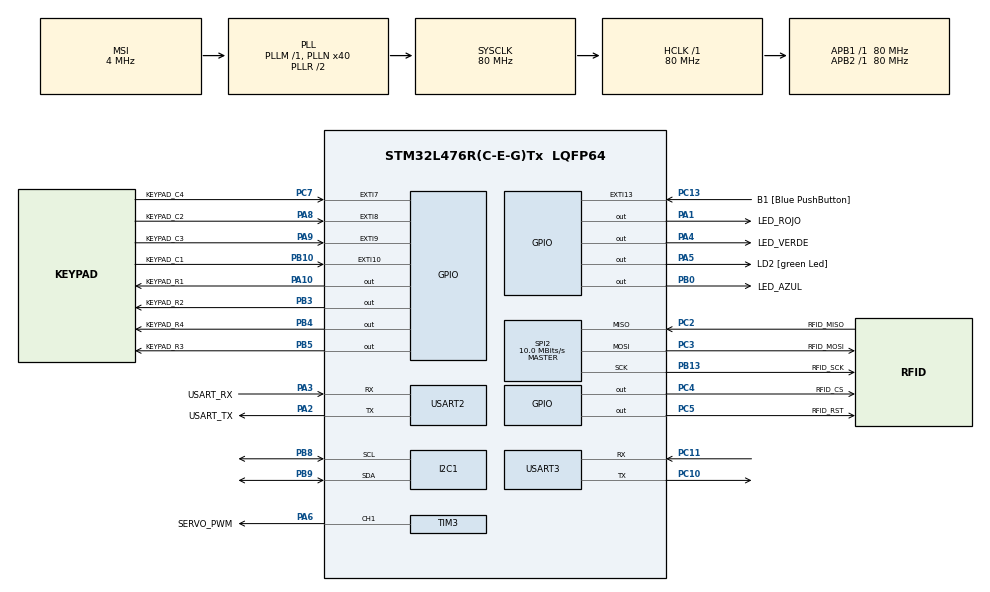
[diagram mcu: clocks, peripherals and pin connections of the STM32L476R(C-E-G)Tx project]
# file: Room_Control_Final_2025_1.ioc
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Dma.Request0=TIM3_CH1/TRIG
Dma.TIM3_CH1/TRIG.0.Direction=DMA_MEMORY_TO_PERIPH
Dma.TIM3_CH1/TRIG.0.Instance=DMA1_Channel6
Dma.TIM3_CH1/TRIG.0.MemDataAlignment=DMA_MDATAALIGN_HALFWORD
Dma.TIM3_CH1/TRIG.0.MemInc=DMA_MINC_ENABLE
Dma.TIM3_CH1/TRIG.0.Mode=DMA_NORMAL
Dma.TIM3_CH1/TRIG.0.PeriphDataAlignment=DMA_PDATAALIGN_HALFWORD
Dma.TIM3_CH1/TRIG.0.PeriphInc=DMA_PINC_DISABLE
Dma.TIM3_CH1/TRIG.0.Priority=DMA_PRIORITY_LOW
I2C1.Timing=0x10909CEC
Mcu.Family=STM32L4
Mcu.Name=STM32L476R(C-E-G)Tx
Mcu.Package=LQFP64
NVIC.DMA1_Channel6_IRQn=true\:0\:0\:false\:false\:true\:false\:true\:true
NVIC.EXTI15_10_IRQn=true\:0\:0\:false\:false\:true\:true\:true\:true
NVIC.EXTI9_5_IRQn=true\:0\:0\:false\:false\:true\:true\:true\:true
NVIC.PriorityGroup=NVIC_PRIORITYGROUP_4
NVIC.USART2_IRQn=true\:0\:0\:false\:false\:true\:true\:true\:true
NVIC.USART3_IRQn=true\:0\:0\:false\:false\:true\:true\:true\:true
PA1.GPIO_Label=LED_ROJO
PA1.Signal=GPIO_Output
PA10.GPIO_Label=KEYPAD_R1
PA10.Signal=GPIO_Output
PA13\ (JTMS-SWDIO).GPIO_Label=TMS
PA13\ (JTMS-SWDIO).Mode=Serial_Wire
PA13\ (JTMS-SWDIO).Signal=SYS_JTMS-SWDIO
PA14\ (JTCK-SWCLK).GPIO_Label=TCK
PA14\ (JTCK-SWCLK).Mode=Serial_Wire
PA14\ (JTCK-SWCLK).Signal=SYS_JTCK-SWCLK
PA2.GPIO_Label=USART_TX
PA2.GPIO_Mode=GPIO_MODE_AF_PP
PA2.GPIO_PuPd=GPIO_NOPULL
PA2.GPIO_Speed=GPIO_SPEED_FREQ_VERY_HIGH
PA2.Mode=Asynchronous
PA2.Signal=USART2_TX
PA3.GPIO_Label=USART_RX
PA3.GPIO_Mode=GPIO_MODE_AF_PP
PA3.GPIO_PuPd=GPIO_NOPULL
PA3.GPIO_Speed=GPIO_SPEED_FREQ_VERY_HIGH
PA3.Mode=Asynchronous
PA3.Signal=USART2_RX
PA4.GPIO_Label=LED_VERDE
PA4.Signal=GPIO_Output
PA5.GPIO_Label=LD2 [green Led]
PA5.GPIO_ModeDefaultOutputPP=GPIO_MODE_OUTPUT_PP
PA5.GPIO_PuPd=GPIO_NOPULL
PA5.GPIO_Speed=GPIO_SPEED_FREQ_LOW
PA5.Signal=GPIO_Output
PA6.GPIO_Label=SERVO_PWM
PA6.Signal=S_TIM3_CH1
PA8.GPIO_Label=KEYPAD_C2
PA8.GPIO_ModeDefaultEXTI=GPIO_MODE_IT_FALLING
PA8.GPIO_PuPd=GPIO_PULLUP
PA8.Signal=GPXTI8
PA9.GPIO_Label=KEYPAD_C3
PA9.GPIO_ModeDefaultEXTI=GPIO_MODE_IT_FALLING
PA9.GPIO_PuPd=GPIO_PULLUP
PA9.Signal=GPXTI9
PB0.GPIO_Label=LED_AZUL
PB0.Signal=GPIO_Output
PB10.GPIO_Label=KEYPAD_C1
PB10.GPIO_ModeDefaultEXTI=GPIO_MODE_IT_FALLING
PB10.GPIO_PuPd=GPIO_PULLUP
PB10.Signal=GPXTI10
PB13.GPIO_Label=RFID_SCK
PB13.Mode=Full_Duplex_Master
PB13.Signal=SPI2_SCK
PB3\ (JTDO-TRACESWO).GPIO_Label=KEYPAD_R2
PB3\ (JTDO-TRACESWO).Signal=GPIO_Output
PB4\ (NJTRST).GPIO_Label=KEYPAD_R4
PB4\ (NJTRST).Signal=GPIO_Output
PB5.GPIO_Label=KEYPAD_R3
PB5.Signal=GPIO_Output
PB8.Mode=I2C
PB8.Signal=I2C1_SCL
PB9.Mode=I2C
PB9.Signal=I2C1_SDA
PC10.Mode=Asynchronous
PC10.Signal=USART3_TX
PC11.Mode=Asynchronous
PC11.Signal=USART3_RX
PC13.GPIO_Label=B1 [Blue PushButton]
PC13.GPIO_ModeDefaultEXTI=GPIO_MODE_IT_FALLING
PC13.GPIO_PuPd=GPIO_NOPULL
PC13.Signal=GPXTI13
PC14-OSC32_IN\ (PC14).Mode=LSE-External-Oscillator
PC14-OSC32_IN\ (PC14).Signal=RCC_OSC32_IN
PC15-OSC32_OUT\ (PC15).Mode=LSE-External-Oscillator
PC15-OSC32_OUT\ (PC15).Signal=RCC_OSC32_OUT
PC2.GPIO_Label=RFID_MISO
PC2.Mode=Full_Duplex_Master
PC2.Signal=SPI2_MISO
PC3.GPIO_Label=RFID_MOSI
PC3.Mode=Full_Duplex_Master
PC3.Signal=SPI2_MOSI
PC4.GPIO_Label=RFID_CS
PC4.Signal=GPIO_Output
PC5.GPIO_Label=RFID_RST
PC5.Signal=GPIO_Output
PC7.GPIO_Label=KEYPAD_C4
PC7.GPIO_ModeDefaultEXTI=GPIO_MODE_IT_FALLING
PC7.GPIO_PuPd=GPIO_PULLUP
PC7.Signal=GPXTI7
PH0-OSC_IN\ (PH0).Signal=RCC_OSC_IN
PH1-OSC_OUT\ (PH1).Signal=RCC_OSC_OUT
ProjectManager.HeapSize=0x200
ProjectManager.StackSize=0x400
ProjectManager.TargetToolchain=CMake
RCC.ADCFreq_Value=64000000
RCC.AHBFreq_Value=80000000
RCC.APB1Freq_Value=80000000
RCC.APB1TimFreq_Value=80000000
RCC.APB2Freq_Value=80000000
RCC.APB2TimFreq_Value=80000000
RCC.CortexFreq_Value=80000000
RCC.HCLKFreq_Value=80000000
RCC.HSE_VALUE=8000000
RCC.HSI_VALUE=16000000
RCC.MSI_VALUE=4000000
RCC.PLLN=10
RCC.PLLSourceVirtual=RCC_PLLSOURCE_HSI
RCC.PREFETCH_ENABLE=1
RCC.SYSCLKFreq_VALUE=80000000
RCC.SYSCLKSource=RCC_SYSCLKSOURCE_PLLCLK
RCC.USBFreq_Value=64000000
RCC.VCOOutputFreq_Value=160000000
SH.S_TIM3_CH1.0=TIM3_CH1,PWM Generation1 CH1
SPI2.BaudRatePrescaler=SPI_BAUDRATEPRESCALER_8
SPI2.CalculateBaudRate=10.0 MBits/s
SPI2.DataSize=SPI_DATASIZE_8BIT
SPI2.Direction=SPI_DIRECTION_2LINES
SPI2.Mode=SPI_MODE_MASTER
SPI2.VirtualType=VM_MASTER
TIM3.Channel-PWM\ Generation1\ CH1=TIM_CHANNEL_1
TIM3.Period=20000 - 1
TIM3.Prescaler=80 - 1
USART2.VirtualMode-Asynchronous=VM_ASYNC
USART3.VirtualMode-Asynchronous=VM_ASYNC
board=NUCLEO-L476RG

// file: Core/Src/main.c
/* USER CODE BEGIN Header */
/**
  ******************************************************************************
  * @file           : main.c
  * @brief          : Main program body
  ******************************************************************************
  * @attention
  *
  * Copyright (c) 2025 STMicroelectronics.
  * All rights reserved.
  *
  * This software is licensed under terms that can be found in the LICENSE file
  * in the root directory of this software component.
  * If no LICENSE file comes with this software, it is provided AS-IS.
  *
  ******************************************************************************
  */
/* USER CODE END Header */
#include "main.h"

/* USER CODE BEGIN Includes */
#include "led.h"
#include "keypad.h"
#include "ring_buffer.h"
#include "room_control.h"
#include <stdio.h>
#include <string.h>

#include "ssd1306.h"
#include "ssd1306_fonts.h"

/* USER CODE END Includes */

I2C_HandleTypeDef hi2c1;

SPI_HandleTypeDef hspi2;

TIM_HandleTypeDef htim3;
DMA_HandleTypeDef hdma_tim3_ch1_trig;

UART_HandleTypeDef huart2;
UART_HandleTypeDef huart3;
DMA_HandleTypeDef hdma_lpuart1_rx;

/* USER CODE BEGIN PV */
uint8_t button_pressed = 0; // Flag to indicate if the button is pressed

led_handle_t heartbeat_led = {
    .port = LD2_GPIO_Port,
    .pin = LD2_Pin
};

// Byte recibido desde USART2 (PC / Debug)
uint8_t usart_2_rxbyte = 0;

// Byte recibido desde USART3 (ESP01 / WiFi, si se usa)
uint8_t usart_3_rxbyte = 0;

keypad_handle_t keypad = {
    .row_ports = {KEYPAD_R1_GPIO_Port, KEYPAD_R2_GPIO_Port, KEYPAD_R3_GPIO_Port, KEYPAD_R4_GPIO_Port},
    .row_pins  = {KEYPAD_R1_Pin, KEYPAD_R2_Pin, KEYPAD_R3_Pin, KEYPAD_R4_Pin},
    .col_ports = {KEYPAD_C1_GPIO_Port, KEYPAD_C2_GPIO_Port, KEYPAD_C3_GPIO_Port, KEYPAD_C4_GPIO_Port},
    .col_pins  = {KEYPAD_C1_Pin, KEYPAD_C2_Pin, KEYPAD_C3_Pin, KEYPAD_C4_Pin}
};

#define KEYPAD_BUFFER_LEN 16
uint8_t keypad_buffer[KEYPAD_BUFFER_LEN];
ring_buffer_t keypad_rb;

volatile uint16_t keypad_interrupt_pin = 0;

// Room control system instance
room_control_t room_system;

// === Buffers y flags para comandos por UART (USART2/USART3) ===
#define RX_BUFFER_SIZE 64
char rx3_buffer[RX_BUFFER_SIZE];   // Buffer compartido para comandos de texto

uint16_t usart2_index = 0;         // Índice de escritura para USART2
uint16_t rx3_index = 0;            // Índice de escritura para USART3

volatile uint8_t cmd_wifi_ready = 0; // Flag: 1 cuando rx3_buffer contiene un comando completo
volatile uint8_t rx3_byte = 0;

/* USER CODE END PV */

void SystemClock_Config(void);
static void MX_GPIO_Init(void);
static void MX_DMA_Init(void);
static void MX_USART2_UART_Init(void);
static void MX_I2C1_Init(void);
static void MX_TIM3_Init(void);
static void MX_SPI2_Init(void);
static void MX_USART3_UART_Init(void);

/* USER CODE BEGIN 0 */
/**
 * @brief  Write a character to the UART using printf().
*/
int _write(int file, char *ptr, int len)
{
  (void)file;
  HAL_UART_Transmit(&huart2, (uint8_t *)ptr, len, HAL_MAX_DELAY);
  return len;
}

void write_to_oled(char *message, SSD1306_COLOR color, uint8_t x, uint8_t y)
{
  ssd1306_SetCursor(x, y); // Set cursor to the specified position
  ssd1306_WriteString(message, Font_7x10, color);
  ssd1306_UpdateScreen(); // Update the display to show the message
}

void HAL_GPIO_EXTI_Callback(uint16_t GPIO_Pin)
{
  keypad_interrupt_pin = GPIO_Pin;

  if (GPIO_Pin == B1_Pin) {
    button_pressed = 1;
  }
  else if (GPIO_Pin == KEYPAD_C1_Pin || GPIO_Pin == KEYPAD_C2_Pin ||
           GPIO_Pin == KEYPAD_C3_Pin || GPIO_Pin == KEYPAD_C4_Pin)
  {
      // A. ESCANEAR EL TECLADO SÓLO CUANDO HAYA UNA INTERRUPCIÓN VÁLIDA
      char key = keypad_scan(&keypad, GPIO_Pin);

      // B. Si es válida, GUARDAR EN EL BUFFER (Esto es lo que faltaba)
      if (key != '\0') {
          ring_buffer_write(&keypad_rb, (uint8_t)key);
      }
  }
}

void HAL_UART_RxCpltCallback(UART_HandleTypeDef *huart)
{
    /* ===== USART2 : PC DEBUG ===== */
    if (huart->Instance == USART2)
    {
        // simplemente volver a activar interrupción
        HAL_UART_Receive_IT(&huart2, &usart_2_rxbyte, 1);
        return;
    }

    /* ===== USART3 : ESP-01 ===== */
    if (huart->Instance == USART3)
    {
        if (rx3_byte == '\n' || rx3_byte == '\r')
        {
            if (rx3_index > 0)
            {
                rx3_buffer[rx3_index] = '\0';   // cerrar el string
                cmd_wifi_ready = 1;             // comando listo
                rx3_index = 0;
            }
        }
        else
        {
            if (rx3_index < RX_BUFFER_SIZE - 1)
            {
                rx3_buffer[rx3_index++] = rx3_byte;
            }
        }

        // prevención de overflow
        if (rx3_index >= RX_BUFFER_SIZE - 1)
        {
            rx3_index = 0;
            memset(rx3_buffer, 0, RX_BUFFER_SIZE);
        }

        HAL_UART_Receive_IT(&huart3, &rx3_byte, 1);
    }
}

void heartbeat(void)
{
  static uint32_t last_toggle = 0;
  if (HAL_GetTick() - last_toggle >= 500) { // Toggle every 500 ms
    led_toggle(&heartbeat_led); // Toggle the heartbeat LED
    last_toggle = HAL_GetTick();
  }
}

// --- Función que procesa los comandos Wifi ---
void procesar_comando_wifi(void)
{
    if (cmd_wifi_ready)
    {
        cmd_wifi_ready = 0;

        printf("[CMD WIFI] %s\r\n", rx3_buffer);

        room_control_process_remote(&room_system, (char*)rx3_buffer);

        // limpiar buffer después de usarlo
        memset(rx3_buffer, 0, RX_BUFFER_SIZE);
    }
}

/* USER CODE END 0 */

int main(void)
{

  /* MCU Configuration--------------------------------------------------------*/

  /* Reset of all peripherals, Initializes the Flash interface and the Systick. */
  HAL_Init();

  /* Configure the system clock */
  SystemClock_Config();

  /* Initialize all configured peripherals */
  MX_GPIO_Init();
  MX_DMA_Init();
  MX_USART2_UART_Init();
  MX_I2C1_Init();
  MX_TIM3_Init();
  MX_SPI2_Init();
  MX_USART3_UART_Init();
  /* USER CODE BEGIN 2 */
  led_init(&heartbeat_led);
  ssd1306_Init();
  HAL_UART_Receive_IT(&huart2, &usart_2_rxbyte, 1);
  HAL_UART_Receive_IT(&huart3, &usart_3_rxbyte, 1);

  ring_buffer_init(&keypad_rb, keypad_buffer, KEYPAD_BUFFER_LEN);
  keypad_init(&keypad);

  room_control_init(&room_system);

  /* USER CODE END 2 */

  /* Infinite loop */
  /* USER CODE BEGIN WHILE */

  // Clear the display
  ssd1306_Fill(Black);

  while (1) {
    heartbeat(); // Call the heartbeat function to toggle the LED

    // Máquina de estados principal
    room_control_update(&room_system);

    // Procesamiento del teclado usando el ring buffer
    uint8_t key_val;
    if (ring_buffer_read(&keypad_rb, &key_val)) {
      room_control_process_key(&room_system, (char)key_val);
    }

    procesar_comando_wifi();

    HAL_Delay(10);
  }
  /* USER CODE END WHILE */

}

void SystemClock_Config(void)
{
  RCC_OscInitTypeDef RCC_OscInitStruct = {0};
  RCC_ClkInitTypeDef RCC_ClkInitStruct = {0};

  /** Configure the main internal regulator output voltage
  */
  if (HAL_PWREx_ControlVoltageScaling(PWR_REGULATOR_VOLTAGE_SCALE1) != HAL_OK)
  {
    Error_Handler();
  }

  /** Initializes the RCC Oscillators according to the specified parameters
  * in the RCC_OscInitTypeDef structure.
  */
  RCC_OscInitStruct.OscillatorType = RCC_OSCILLATORTYPE_MSI;
  RCC_OscInitStruct.MSIState = RCC_MSI_ON;
  RCC_OscInitStruct.MSIClockRange = RCC_MSIRANGE_6;
  RCC_OscInitStruct.MSICalibrationValue = 0;
  RCC_OscInitStruct.PLL.PLLState = RCC_PLL_ON;
  RCC_OscInitStruct.PLL.PLLSource = RCC_PLLSOURCE_MSI;
  RCC_OscInitStruct.PLL.PLLM = 1;
  RCC_OscInitStruct.PLL.PLLN = 40;
  RCC_OscInitStruct.PLL.PLLP = RCC_PLLP_DIV7;
  RCC_OscInitStruct.PLL.PLLQ = RCC_PLLQ_DIV2;
  RCC_OscInitStruct.PLL.PLLR = RCC_PLLR_DIV2;
  if (HAL_RCC_OscConfig(&RCC_OscInitStruct) != HAL_OK)
  {
    Error_Handler();
  }

  /** Initializes the CPU, AHB and APB buses clocks
  */
  RCC_ClkInitStruct.ClockType = RCC_CLOCKTYPE_HCLK|RCC_CLOCKTYPE_SYSCLK
                              |RCC_CLOCKTYPE_PCLK1|RCC_CLOCKTYPE_PCLK2;
  RCC_ClkInitStruct.SYSCLKSource = RCC_SYSCLKSOURCE_PLLCLK;
  RCC_ClkInitStruct.AHBCLKDivider = RCC_SYSCLK_DIV1;
  RCC_ClkInitStruct.APB1CLKDivider = RCC_HCLK_DIV1;
  RCC_ClkInitStruct.APB2CLKDivider = RCC_HCLK_DIV1;

  if (HAL_RCC_ClockConfig(&RCC_ClkInitStruct, FLASH_LATENCY_4) != HAL_OK)
  {
    Error_Handler();
  }
}

static void MX_I2C1_Init(void)
{

  hi2c1.Instance = I2C1;
  hi2c1.Init.Timing = 0x10909CEC;
  hi2c1.Init.OwnAddress1 = 0;
  hi2c1.Init.AddressingMode = I2C_ADDRESSINGMODE_7BIT;
  hi2c1.Init.DualAddressMode = I2C_DUALADDRESS_DISABLE;
  hi2c1.Init.OwnAddress2 = 0;
  hi2c1.Init.OwnAddress2Masks = I2C_OA2_NOMASK;
  hi2c1.Init.GeneralCallMode = I2C_GENERALCALL_DISABLE;
  hi2c1.Init.NoStretchMode = I2C_NOSTRETCH_DISABLE;
  if (HAL_I2C_Init(&hi2c1) != HAL_OK)
  {
    Error_Handler();
  }

  /** Configure Analogue filter
  */
  if (HAL_I2CEx_ConfigAnalogFilter(&hi2c1, I2C_ANALOGFILTER_ENABLE) != HAL_OK)
  {
    Error_Handler();
  }

  /** Configure Digital filter
  */
  if (HAL_I2CEx_ConfigDigitalFilter(&hi2c1, 0) != HAL_OK)
  {
    Error_Handler();
  }

}

static void MX_SPI2_Init(void)
{

  /* SPI2 parameter configuration*/
  hspi2.Instance = SPI2;
  hspi2.Init.Mode = SPI_MODE_MASTER;
  hspi2.Init.Direction = SPI_DIRECTION_2LINES;
  hspi2.Init.DataSize = SPI_DATASIZE_8BIT;
  hspi2.Init.CLKPolarity = SPI_POLARITY_LOW;
  hspi2.Init.CLKPhase = SPI_PHASE_1EDGE;
  hspi2.Init.NSS = SPI_NSS_SOFT;
  hspi2.Init.BaudRatePrescaler = SPI_BAUDRATEPRESCALER_8;
  hspi2.Init.FirstBit = SPI_FIRSTBIT_MSB;
  hspi2.Init.TIMode = SPI_TIMODE_DISABLE;
  hspi2.Init.CRCCalculation = SPI_CRCCALCULATION_DISABLE;
  hspi2.Init.CRCPolynomial = 7;
  hspi2.Init.CRCLength = SPI_CRC_LENGTH_DATASIZE;
  hspi2.Init.NSSPMode = SPI_NSS_PULSE_ENABLE;
  if (HAL_SPI_Init(&hspi2) != HAL_OK)
  {
    Error_Handler();
  }

}

static void MX_TIM3_Init(void)
{

  TIM_MasterConfigTypeDef sMasterConfig = {0};
  TIM_OC_InitTypeDef sConfigOC = {0};

  htim3.Instance = TIM3;
  htim3.Init.Prescaler = 80 - 1;
  htim3.Init.CounterMode = TIM_COUNTERMODE_UP;
  htim3.Init.Period = 20000 - 1;
  htim3.Init.ClockDivision = TIM_CLOCKDIVISION_DIV1;
  htim3.Init.AutoReloadPreload = TIM_AUTORELOAD_PRELOAD_DISABLE;
  if (HAL_TIM_PWM_Init(&htim3) != HAL_OK)
  {
    Error_Handler();
  }
  sMasterConfig.MasterOutputTrigger = TIM_TRGO_RESET;
  sMasterConfig.MasterSlaveMode = TIM_MASTERSLAVEMODE_DISABLE;
  if (HAL_TIMEx_MasterConfigSynchronization(&htim3, &sMasterConfig) != HAL_OK)
  {
    Error_Handler();
  }
  sConfigOC.OCMode = TIM_OCMODE_PWM1;
  sConfigOC.Pulse = 0;
  sConfigOC.OCPolarity = TIM_OCPOLARITY_HIGH;
  sConfigOC.OCFastMode = TIM_OCFAST_DISABLE;
  if (HAL_TIM_PWM_ConfigChannel(&htim3, &sConfigOC, TIM_CHANNEL_1) != HAL_OK)
  {
    Error_Handler();
  }
  HAL_TIM_MspPostInit(&htim3);

}

static void MX_USART2_UART_Init(void)
{

  huart2.Instance = USART2;
  huart2.Init.BaudRate = 115200;
  huart2.Init.WordLength = UART_WORDLENGTH_8B;
  huart2.Init.StopBits = UART_STOPBITS_1;
  huart2.Init.Parity = UART_PARITY_NONE;
  huart2.Init.Mode = UART_MODE_TX_RX;
  huart2.Init.HwFlowCtl = UART_HWCONTROL_NONE;
  huart2.Init.OverSampling = UART_OVERSAMPLING_16;
  huart2.Init.OneBitSampling = UART_ONE_BIT_SAMPLE_DISABLE;
  huart2.AdvancedInit.AdvFeatureInit = UART_ADVFEATURE_NO_INIT;
  if (HAL_UART_Init(&huart2) != HAL_OK)
  {
    Error_Handler();
  }

}

static void MX_USART3_UART_Init(void)
{

  huart3.Instance = USART3;
  huart3.Init.BaudRate = 115200;
  huart3.Init.WordLength = UART_WORDLENGTH_8B;
  huart3.Init.StopBits = UART_STOPBITS_1;
  huart3.Init.Parity = UART_PARITY_NONE;
  huart3.Init.Mode = UART_MODE_TX_RX;
  huart3.Init.HwFlowCtl = UART_HWCONTROL_NONE;
  huart3.Init.OverSampling = UART_OVERSAMPLING_16;
  huart3.Init.OneBitSampling = UART_ONE_BIT_SAMPLE_DISABLE;
  huart3.AdvancedInit.AdvFeatureInit = UART_ADVFEATURE_NO_INIT;
  if (HAL_UART_Init(&huart3) != HAL_OK)
  {
    Error_Handler();
  }

}

static void MX_DMA_Init(void)
{

  /* DMA controller clock enable */
  __HAL_RCC_DMA1_CLK_ENABLE();

  /* DMA interrupt init */
  /* DMA1_Channel6_IRQn interrupt configuration */
  HAL_NVIC_SetPriority(DMA1_Channel6_IRQn, 0, 0);
  HAL_NVIC_EnableIRQ(DMA1_Channel6_IRQn);

}

static void MX_GPIO_Init(void)
{
  GPIO_InitTypeDef GPIO_InitStruct = {0};

  /* GPIO Ports Clock Enable */
  __HAL_RCC_GPIOC_CLK_ENABLE();
  __HAL_RCC_GPIOH_CLK_ENABLE();
  __HAL_RCC_GPIOA_CLK_ENABLE();
  __HAL_RCC_GPIOB_CLK_ENABLE();

  /*Configure GPIO pin Output Level */
  HAL_GPIO_WritePin(GPIOA, LED_ROJO_Pin|LED_VERDE_Pin|LD2_Pin|KEYPAD_R1_Pin, GPIO_PIN_RESET);

  /*Configure GPIO pin Output Level */
  HAL_GPIO_WritePin(GPIOC, RFID_CS_Pin|RFID_RST_Pin, GPIO_PIN_RESET);

  /*Configure GPIO pin Output Level */
  HAL_GPIO_WritePin(GPIOB, LED_AZUL_Pin|KEYPAD_R2_Pin|KEYPAD_R4_Pin|KEYPAD_R3_Pin, GPIO_PIN_RESET);

  /*Configure GPIO pin : B1_Pin */
  GPIO_InitStruct.Pin = B1_Pin;
  GPIO_InitStruct.Mode = GPIO_MODE_IT_FALLING;
  GPIO_InitStruct.Pull = GPIO_NOPULL;
  HAL_GPIO_Init(B1_GPIO_Port, &GPIO_InitStruct);

  /*Configure GPIO pins : LED_ROJO_Pin LED_VERDE_Pin LD2_Pin KEYPAD_R1_Pin */
  GPIO_InitStruct.Pin = LED_ROJO_Pin|LED_VERDE_Pin|LD2_Pin|KEYPAD_R1_Pin;
  GPIO_InitStruct.Mode = GPIO_MODE_OUTPUT_PP;
  GPIO_InitStruct.Pull = GPIO_NOPULL;
  GPIO_InitStruct.Speed = GPIO_SPEED_FREQ_LOW;
  HAL_GPIO_Init(GPIOA, &GPIO_InitStruct);

  /*Configure GPIO pins : RFID_CS_Pin RFID_RST_Pin */
  GPIO_InitStruct.Pin = RFID_CS_Pin|RFID_RST_Pin;
  GPIO_InitStruct.Mode = GPIO_MODE_OUTPUT_PP;
  GPIO_InitStruct.Pull = GPIO_NOPULL;
  GPIO_InitStruct.Speed = GPIO_SPEED_FREQ_LOW;
  HAL_GPIO_Init(GPIOC, &GPIO_InitStruct);

  /*Configure GPIO pins : LED_AZUL_Pin KEYPAD_R2_Pin KEYPAD_R4_Pin KEYPAD_R3_Pin */
  GPIO_InitStruct.Pin = LED_AZUL_Pin|KEYPAD_R2_Pin|KEYPAD_R4_Pin|KEYPAD_R3_Pin;
  GPIO_InitStruct.Mode = GPIO_MODE_OUTPUT_PP;
  GPIO_InitStruct.Pull = GPIO_NOPULL;
  GPIO_InitStruct.Speed = GPIO_SPEED_FREQ_LOW;
  HAL_GPIO_Init(GPIOB, &GPIO_InitStruct);

  /*Configure GPIO pin : KEYPAD_C1_Pin */
  GPIO_InitStruct.Pin = KEYPAD_C1_Pin;
  GPIO_InitStruct.Mode = GPIO_MODE_IT_FALLING;
  GPIO_InitStruct.Pull = GPIO_PULLUP;
  HAL_GPIO_Init(KEYPAD_C1_GPIO_Port, &GPIO_InitStruct);

  /*Configure GPIO pin : KEYPAD_C4_Pin */
  GPIO_InitStruct.Pin = KEYPAD_C4_Pin;
  GPIO_InitStruct.Mode = GPIO_MODE_IT_FALLING;
  GPIO_InitStruct.Pull = GPIO_PULLUP;
  HAL_GPIO_Init(KEYPAD_C4_GPIO_Port, &GPIO_InitStruct);

  /*Configure GPIO pins : KEYPAD_C2_Pin KEYPAD_C3_Pin */
  GPIO_InitStruct.Pin = KEYPAD_C2_Pin|KEYPAD_C3_Pin;
  GPIO_InitStruct.Mode = GPIO_MODE_IT_FALLING;
  GPIO_InitStruct.Pull = GPIO_PULLUP;
  HAL_GPIO_Init(GPIOA, &GPIO_InitStruct);

  /* EXTI interrupt init*/
  HAL_NVIC_SetPriority(EXTI9_5_IRQn, 0, 0);
  HAL_NVIC_EnableIRQ(EXTI9_5_IRQn);

  HAL_NVIC_SetPriority(EXTI15_10_IRQn, 0, 0);
  HAL_NVIC_EnableIRQ(EXTI15_10_IRQn);

}

void Error_Handler(void)
{
  __disable_irq();
  while (1)
  {
  }
}
